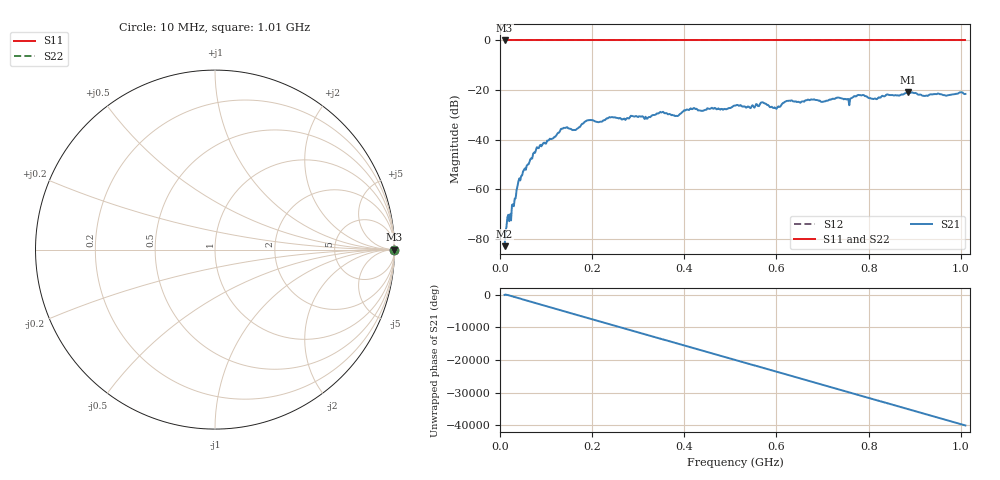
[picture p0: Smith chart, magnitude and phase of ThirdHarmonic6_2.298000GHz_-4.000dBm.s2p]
! 8/17/2025 3:05:54 AM
! C:\ANRITSUVNA\TEMP\TEMP.S2P
! CHANNEL.1
! TR.MEASUREMENT
! RAW.DATA
! RF.CORRECTION.OFF
! AVERAGING.OFF
! IF.BANDWIDTH: 5KHZ
! SWEEPTYPE:  FREQ.SWEEP(Linear)
! Reference Plane Port Info
! PORT:  PORT1  PORT2
! DISTANCE:  0  m  0  m
! TIME:  0  s  0  s
! PHASE.OFFSET:  0  deg.  0  deg.
! LOSS:  0  dB  0  dB
! REF.LOSS:  0  dB  0  dB
! REF.FREQ:  0  Hz  0  Hz
! Power Info
! POWER:  -20  dBm  -20  dBm
! EFF.POWER:  -20  dBm  -20  dBm
! SOURCE.ATTEN:  0  dB  0  dB
! TEST.ATTEN:  0  dB  0  dB
# GHZ S RI R 50.0
! FREQ.GHZ  S11RE  S11IM  S21RE  S21IM  S12RE  S12IM  S22RE  S22IM
!; PortSelection: Port_12
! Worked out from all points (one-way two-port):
!   501 points, 10 MHz to 1.01 GHz, reference 50 ohm
!   highest |S21| = -20.91 dB at 886 MHz (marker M1); lowest = -83.0 dB at 10 MHz (marker M2)
!   lowest |S11| = 0.0 dB at 10 MHz (marker M3)
!   |S11| at or under -10 dB: nowhere
!   |S22| runs from 0.0 to 0.0 dB; largest |S21 - S12| = 1.1
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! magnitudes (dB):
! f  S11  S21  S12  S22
! 10 MHz  0.0  -83.0  0.0  0.0
! 42 MHz  0.0  -55.6  0.0  0.0
! 76 MHz  0.0  -45.3  0.0  0.0
! 136 MHz  0.0  -35.6  0.0  0.0
! 162 MHz  0.0  -36.1  0.0  0.0
! 178 MHz  0.0  -33.6  0.0  0.0
! 240 MHz  0.0  -31.0  0.0  0.0
! 318 MHz  0.0  -31.5  0.0  0.0
! 344 MHz  0.0  -29.4  0.0  0.0
! 384 MHz  0.0  -30.5  0.0  0.0
! 416 MHz  0.0  -27.7  0.0  0.0
! 510 MHz  0.0  -26.3  0.0  0.0
! 570 MHz  0.0  -24.9  0.0  0.0
! 596 MHz  0.0  -27.0  0.0  0.0
! 624 MHz  0.0  -24.4  0.0  0.0
! 678 MHz  0.0  -23.8  0.0  0.0
! 756 MHz  0.0  -23.6  0.0  0.0
! 780 MHz  0.0  -22.0  0.0  0.0
! 814 MHz  0.0  -23.4  0.0  0.0
! 844 MHz  0.0  -22.0  0.0  0.0
! 886 MHz  0.0  -20.9  0.0  0.0
! 1.01 GHz  0.0  -21.6  0.0  0.0
